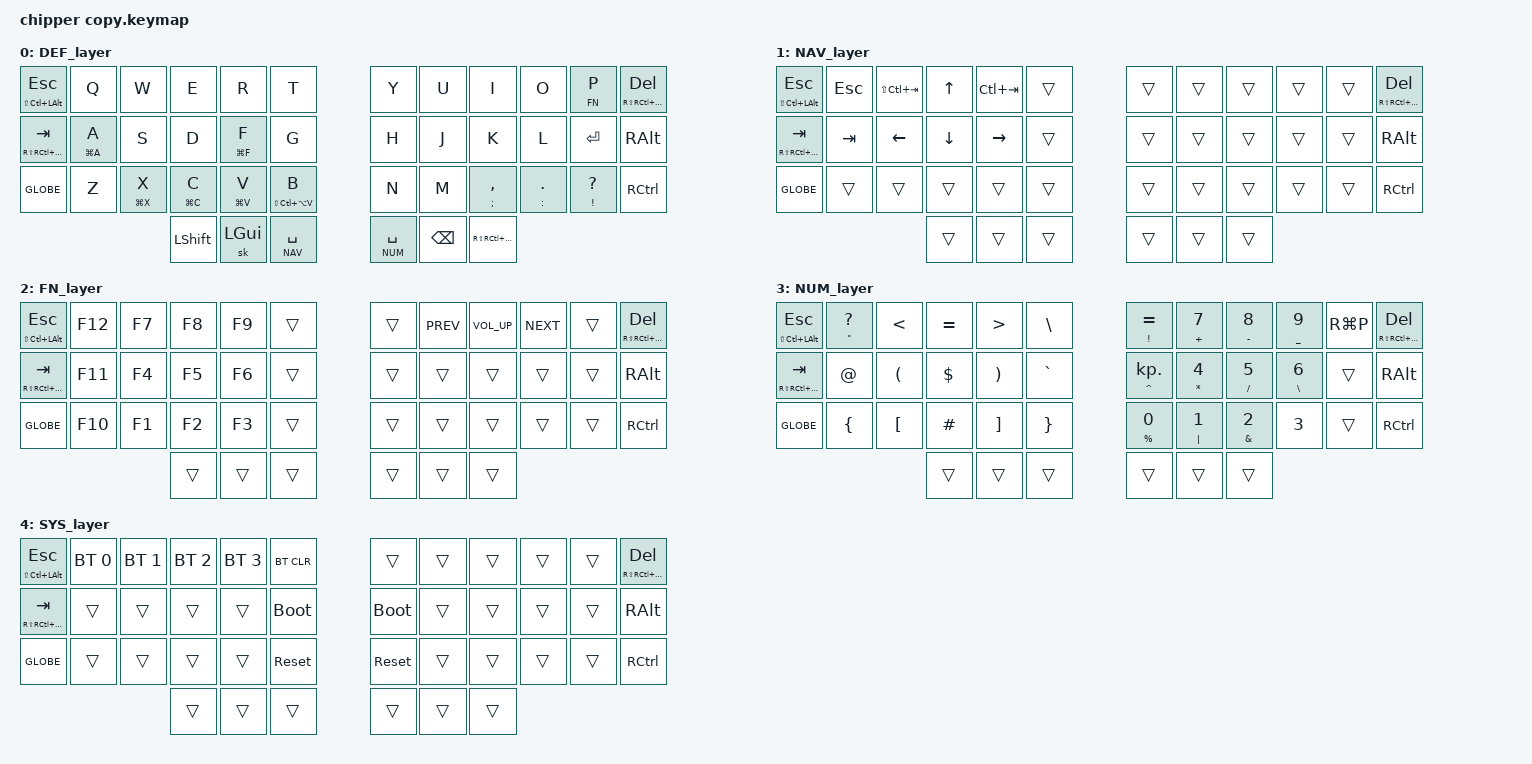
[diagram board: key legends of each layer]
#include <behaviors.dtsi>
#include <dt-bindings/zmk/keys.h>
#include <dt-bindings/zmk/bt.h>
#include <dt-bindings/zmk/outputs.h>

/* map 6 extra keys */
#define X_LT  &mt LS(LC(LALT)) ESC
#define X_LM  &mt RS(RC(RA(RGUI))) TAB
#define X_LB  &kp GLOBE
#define X_RT  &mt RS(RC(RA(RGUI))) DEL
#define X_RM  &kp RALT
#define X_RB  &kp RCTRL

#define XXX &none
#define ___ &trans

#define COMBO_TIMEOUT 60

#define DEF 0
#define NAV 1
#define FN 2
#define NUM 3
#define SYS 4

/ {
    macros {
	nayeon: nayeon {
            compatible = "zmk,behavior-macro";
            #binding-cells = <0>;
            bindings
                = <&macro_tap_time 10>
		,<&macro_tap &kp N &kp A &kp Y &kp E &kp O &kp N>
        ;
        };
    };
};
/ {
    combos {
        compatible = "zmk,combos";
	 combo_cw {
            timeout-ms = <COMBO_TIMEOUT>;
            key-positions = <6 30>;
            bindings = <&nayeon>;
        };
    };
};
/ {
    conditional_layers {
        compatible = "zmk,conditional-layers";
        tri_layer {
            if-layers = <1 2>;
            then-layer = <4>;
        };
    };
};

/ {
        keymap {
                compatible = "zmk,keymap";

                DEF_layer {
                        bindings = <
//╭──────╮ ╭─────────────┬─────────────┬─────────────┬─────────────┬─────────────╮   ╭─────────────┬─────────────┬─────────────┬─────────────┬─────────────╮ ╭──────╮
    X_LT     &kp Q         &kp W         &kp E         &kp R         &kp T             &kp Y         &kp U         &kp I         &kp O         &lt FN P        X_RT
//├──────┤ ├─────────────┼─────────────┼─────────────┼─────────────┼─────────────┤   ├─────────────┼─────────────┼─────────────┼─────────────┼─────────────┤ ├──────┤
    X_LM     &mt LG(A) A   &kp S         &kp D         &mt LG(F) F   &kp G             &kp H         &kp J         &kp K         &kp L         &kp RET         X_RM
//├──────┤ ├─────────────┼─────────────┼─────────────┼─────────────┼─────────────┤   ├─────────────┼─────────────┼─────────────┼─────────────┼─────────────┤ ├──────┤
    X_LB     &kp Z    &mt LG(X) X   &mt LG(C) C   &mt LG(V) V   &mt LS(LC(LA(V))) B    &kp N         &kp M        &mt SEMI COMMA &mt COLON DOT &mt EXCL QMARK  X_RB
//├──────┤ ╰─────────────┼─────────────┴─────────────┼─────────────┼─────────────┤   ├─────────────┼─────────────┼─────────────┴───────────────────────────╯ ├──────┤
                                         &kp LSHFT     &sk LGUI      &lt NAV SPC       &lt NUM SPC   &kp BSPC      &kp RS(RC(RA(H)))
//                                     ╰────────────┼──────────────┴─────────────╯   ╰─────────────┴─────────────┼─────────────╯
                        >;
                };

                NAV_layer {

                        bindings = <
//╭──────╮ ╭─────────────┬─────────────┬─────────────┬─────────────┬─────────────╮ ╭─────────────┬─────────────┬─────────────┬─────────────┬─────────────╮ ╭──────╮
    X_LT     &kp ESC      &kp LS(LC(TAB)) &kp UP       &kp LC(TAB)   ___             ___           ___           ___           ___            ___            X_RT
//├──────┤ ├─────────────┼─────────────┼─────────────┼─────────────┼─────────────┤ ├─────────────┼─────────────┼─────────────┼─────────────┼─────────────┤ ├──────┤
    X_LM     &kp TAB       &kp LEFT      &kp DOWN      &kp RIGHT     ___             ___           ___           ___           ___            ___            X_RM
//├──────┤ ├─────────────┼─────────────┼─────────────┼─────────────┼─────────────┤ ├─────────────┼─────────────┼─────────────┼─────────────┼─────────────┤ ├──────┤
    X_LB     ___           ___           ___           ___           ___             ___           ___           ___           ___           ___             X_RB
//├──────┤ ╰─────────────┼─────────────┴─────────────┼─────────────┼─────────────┤ ├─────────────┼─────────────┼─────────────┴───────────────────────────╯ ├──────┤
                                         ___           ___           ___             ___           ___          ___
//                                                   ╰─────────────┴─────────────╯ ╰─────────────┴─────────────╯                                           
                        >;
                };

                FN_layer {

                        bindings = <
//╭──────╮ ╭─────────────┬─────────────┬─────────────┬─────────────┬─────────────╮ ╭─────────────┬─────────────┬─────────────┬─────────────┬─────────────╮ ╭──────╮
    X_LT     &kp F12       &kp F7        &kp F8        &kp F9        ___                      ___           &kp C_PREV    &kp C_VOL_UP  &kp C_NEXT    ___             X_RT
//├──────┤ ├─────────────┼─────────────┼─────────────┼─────────────┼─────────────┤ ├─────────────┼─────────────┼─────────────┼─────────────┼─────────────┤ ├──────┤
    X_LM     &kp F11       &kp F4        &kp F5        &kp F6        ___                      ___           ___           ___           ___           ___             X_RM
//├──────┤ ├─────────────┼─────────────┼─────────────┼─────────────┼─────────────┤ ├─────────────┼─────────────┼─────────────┼─────────────┼─────────────┤ ├──────┤
    X_LB     &kp F10       &kp F1        &kp F2        &kp F3        ___                      ___           ___           ___           ___           ___             X_RB
//├──────┤ ╰─────────────┼─────────────┴─────────────┼─────────────┼─────────────┤ ├─────────────┼─────────────┼─────────────┴───────────────────────────╯ ├──────┤
    ___                                                ___           ___                      ___           ___                                                  ___
//╰──────╯                                           ╰─────────────┴─────────────╯ ╰─────────────┴─────────────╯                                           ╰──────╯
                        >;
		};
		
		NUM_layer {

                        bindings = <
//╭──────╮ ╭─────────────┬─────────────┬─────────────┬─────────────┬─────────────╮ ╭─────────────┬─────────────┬─────────────┬─────────────┬─────────────╮ ╭──────╮
    X_LT     &mt DQT QMARK &kp LT        &kp EQUAL     &kp GT        &kp BSLH                &mt EXCL EQUAL  &mt PLUS N7 &mt MINUS N8   &mt UNDER N9  &kp RG(P)     X_RT
//├──────┤ ├─────────────┼─────────────┼─────────────┼─────────────┼─────────────┤ ├─────────────┼─────────────┼─────────────┼─────────────┼─────────────┤ ├──────┤
    X_LM     &kp AT        &kp LPAR      &kp DLLR      &kp RPAR      &kp GRAVE               &mt CARET KP_DOT &mt STAR N4  &mt FSLH N5  &mt BSLH N6   ___           X_RM
//├──────┤ ├─────────────┼─────────────┼─────────────┼─────────────┼─────────────┤ ├─────────────┼─────────────┼─────────────┼─────────────┼─────────────┤ ├──────┤
    X_LB     &kp LBRC      &kp LBKT      &kp HASH      &kp RBKT      &kp RBRC                &mt PRCNT N0   &mt PIPE N1   &mt AMPS N2   &kp N3        ___           X_RB
//├──────┤ ╰─────────────┼─────────────┴─────────────┼─────────────┼─────────────┤ ├─────────────┼─────────────┼─────────────┴───────────────────────────╯ ├──────┤
                                         ___           ___           ___                      ___           ___                                                       ___
//                                     ╰─────────────┴─────────────┴─────────────╯ ╰─────────────┴─────────────╯                                           ╰──────╯
                        >;
		};

        		SYS_layer {

                        bindings = <
//╭──────╮ ╭─────────────┬─────────────┬─────────────┬─────────────┬─────────────╮ ╭─────────────┬─────────────┬─────────────┬─────────────┬─────────────╮ ╭──────╮
    X_LT    &bt BT_SEL 0   &bt BT_SEL 1  &bt BT_SEL 2  &bt BT_SEL 3   &bt BT_CLR              ___           ___           ___           ___           ___             X_RT
//├──────┤ ├─────────────┼─────────────┼─────────────┼─────────────┼─────────────┤ ├─────────────┼─────────────┼─────────────┼─────────────┼─────────────┤ ├──────┤
    X_LM     ___           ___           ___           ___           &bootloader              &bootloader   ___           ___           ___           ___             X_RM
//├──────┤ ├─────────────┼─────────────┼─────────────┼─────────────┼─────────────┤ ├─────────────┼─────────────┼─────────────┼─────────────┼─────────────┤ ├──────┤
    X_LB     ___           ___           ___           ___           &sys_reset               &sys_reset    ___           ___           ___           ___             X_RB
//├──────┤ ╰─────────────┼─────────────┴─────────────┼─────────────┼─────────────┤ ├─────────────┼─────────────┼─────────────┴───────────────────────────╯ ├──────┤
    ___                                                ___           ___                      ___           ___                                                       ___
//╰──────╯                                           ╰─────────────┴─────────────╯ ╰─────────────┴─────────────╯                                           ╰──────╯
                        >;
		};
        };
};
